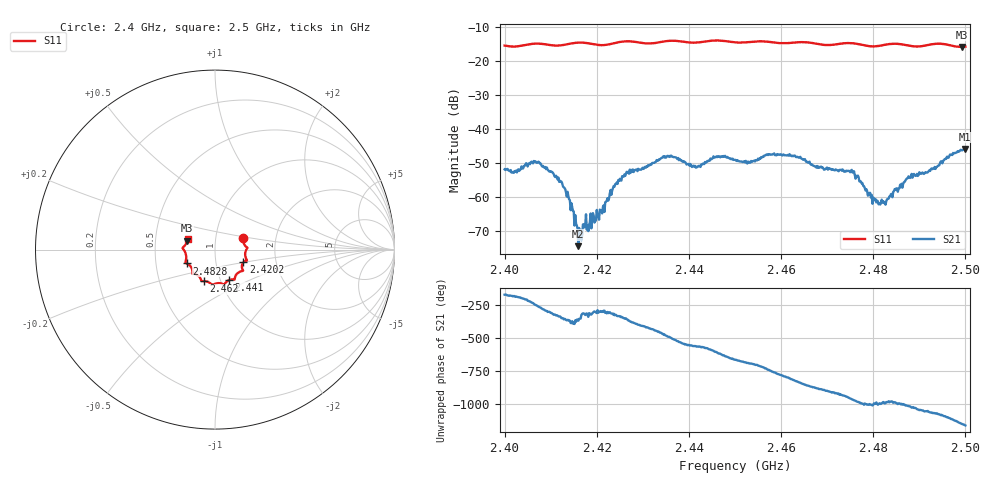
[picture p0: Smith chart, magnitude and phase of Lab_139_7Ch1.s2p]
# Hz S RI R 50
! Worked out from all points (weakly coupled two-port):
!   601 points, 2.4 GHz to 2.5 GHz, reference 50 ohm
!   highest |S21| = -45.89 dB at 2.4998 GHz (marker M1); lowest = -74.6 dB at 2.416 GHz (marker M2)
!   lowest |S11| = -15.8 dB at 2.4992 GHz (marker M3), VSWR 1.39, Z = 36.5 + j3.67 ohm
!   |S11| at or under -10 dB: start of sweep to end of sweep
!   S12 and S22 are empty: the file has one direction only
!   S11 on the Smith chart (normalised r, x): 2.4 GHz: 1.36, +0.18; 2.4202 GHz: 1.36, -0.20; 2.441 GHz: 1.10, -0.39; 2.462 GHz: 0.84, -0.30; 2.4828 GHz: 0.72, -0.11; 2.5 GHz: 0.73, +0.09
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2.4e9  0.1575 0.0627  -0.0025 -0.000448  0 0  0 0
2.406833e9  0.1806 0.0104  -0.00114 0.00301  0 0  0 0
2.410167e9  0.1712 -0.00746  0.00145 0.00181  0 0  0 0
2.413333e9  0.1705 -0.0431  0.00115 -4.67e-05  0 0  0 0
2.416e9  0.1779 -0.0589  0.000185 -2.39e-05  0 0  0 0
2.416667e9  0.1777 -0.0601  0.000184 0.000136  0 0  0 0
2.420167e9  0.1583 -0.0708  0.000153 0.000488  0 0  0 0
2.426e9  0.1564 -0.117  0.00209 0.000414  0 0  0 0
2.433333e9  0.1123 -0.151  -0.000166 -0.00341  0 0  0 0
2.4365e9  0.1094 -0.1669  -0.00323 -0.00215  0 0  0 0
2.441e9  0.0786 -0.1696  -0.00271 0.00098  0 0  0 0
2.45e9  0.0284 -0.1873  0.00192 0.00293  0 0  0 0
2.462e9  -0.0604 -0.1754  0.000183 -0.00405  0 0  0 0
2.466667e9  -0.0779 -0.1681  -0.00258 -0.00154  0 0  0 0
2.475333e9  -0.1266 -0.1335  -0.00109 0.00224  0 0  0 0
2.480333e9  -0.1375 -0.0916  0.000151 0.000917  0 0  0 0
2.482833e9  -0.1576 -0.0774  -6.98e-05 0.000863  0 0  0 0
2.483333e9  -0.1606 -0.076  -0.000178 0.000921  0 0  0 0
2.487833e9  -0.1605 -0.0517  0.000908 0.0017  0 0  0 0
2.499167e9  -0.1541 0.049  0.00167 -0.00453  0 0  0 0
2.499833e9  -0.1521 0.0586  0.00085 -0.00501  0 0  0 0
2.5e9  -0.1517 0.061  0.000591 -0.00486  0 0  0 0
